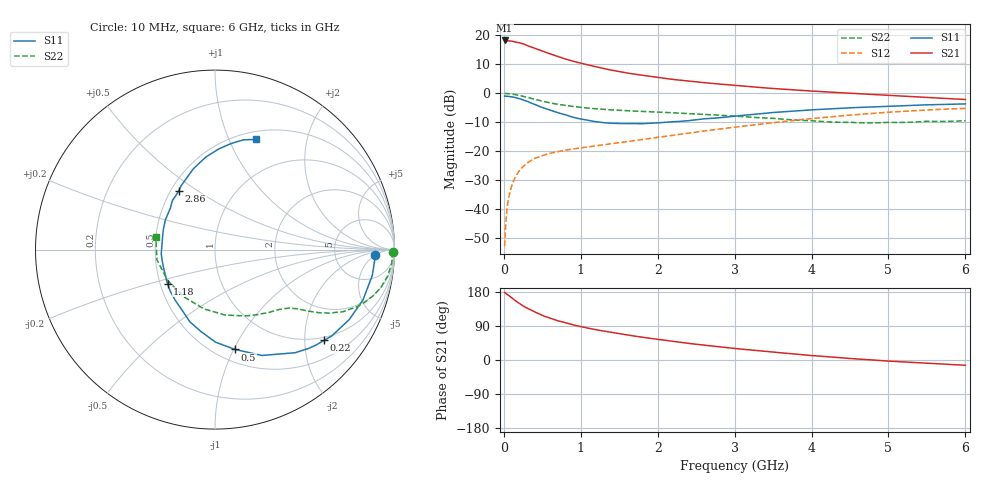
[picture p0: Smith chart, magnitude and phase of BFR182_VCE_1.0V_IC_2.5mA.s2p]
! Infineon Technologies  Discrete & RF Semiconductors
! BFR182
! VCE =  1.0 V,  IC =  2.5 mA
! Common Emitter S-Parameters:  Nov 2015
# GHz  S  MA  R  50
!  f  S11  S21  S12  S22
! GHz  MAG  ANG  MAG  ANG  MAG  ANG  MAG  ANG
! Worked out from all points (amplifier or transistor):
!   210 points, 10 MHz to 6 GHz, reference 50 ohm
!   highest |S21| = 18.2 dB at 10 MHz (marker M1)
!   |S21| within 3 dB of that: start of sweep to 431.9 MHz
!   unconditionally stable (mu >= 1): 1.303 GHz to 3.25 GHz
!   at 185 MHz: K = 0.21, MSG = 22.4 dB, |S12| = -27.4 dB
!   at 1.52 GHz: K = 1.05, MAG = 10.8 dB, |S12| = -17.0 dB
!   at 6 GHz: K = 0.93, MSG = 1.5 dB, |S12| = -5.2 dB
!   S11 on the Smith chart (normalised r, x): 10 MHz: 16, -5; 220 MHz: 0.92, -2.47; 500 MHz: 0.62, -1.01; 1.18 GHz: 0.55, -0.23; 2.86 GHz: 0.55, +0.42; 6 GHz: 0.59, +1.26
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0.01  0.8937 -2.0  8.147 178.6  0.0023 87.5  0.9944 -0.8
0.03  0.8898 -5.5  8.003 175.2  0.0071 86.8  0.9878 -2.6
0.07  0.8785 -13.0  8.006 169.2  0.0174 82.0  0.9818 -6.0
0.1  0.8711 -18.7  7.991 164.6  0.0247 79.9  0.9741 -8.6
0.15  0.8434 -27.5  7.639 156.5  0.0357 74.1  0.949 -12.7
0.22  0.7908 -39.7  7.318 146.9  0.0493 68.4  0.9056 -17.4
0.26  0.7593 -46.4  7.043 141.6  0.056 65.6  0.8783 -19.9
0.3  0.728 -52.1  6.684 136.9  0.0623 63.1  0.8515 -22.0
0.4  0.6452 -66.1  5.998 126.9  0.0751 57.8  0.7905 -26.0
0.5  0.5677 -78.6  5.328 117.3  0.0839 53.9  0.7296 -29.0
0.6  0.5157 -89.7  4.791 110.1  0.0921 51.6  0.6817 -31.1
0.7  0.4634 -99.7  4.315 103.7  0.0983 50.0  0.6452 -32.5
0.88  0.3927 -116.1  3.63 93.7  0.1084 48.6  0.597 -34.4
1.02  0.3552 -129.5  3.254 87.2  0.1149 48.7  0.5667 -35.6
1.18  0.3255 -144.3  2.904 80.6  0.1232 49.2  0.5419 -37.2
1.6  0.3004 -175.7  2.236 66.1  0.146 51.0  0.5009 -41.2
2.02  0.3101 157.3  1.862 54.0  0.1749 52.8  0.4705 -46.8
2.86  0.3849 121.6  1.421 33.6  0.2469 52.0  0.4138 -62.7
3.1  0.4146 114.8  1.332 28.6  0.2697 50.5  0.395 -68.9
4.1  0.5252 94.1  1.072 10.3  0.3758 41.9  0.328 -104.8
5.1  0.6037 80.2  0.906 -4.0  0.4795 29.3  0.3131 -151.4
6  0.6549 69.6  0.781 -13.9  0.5488 15.7  0.3363 168.4
